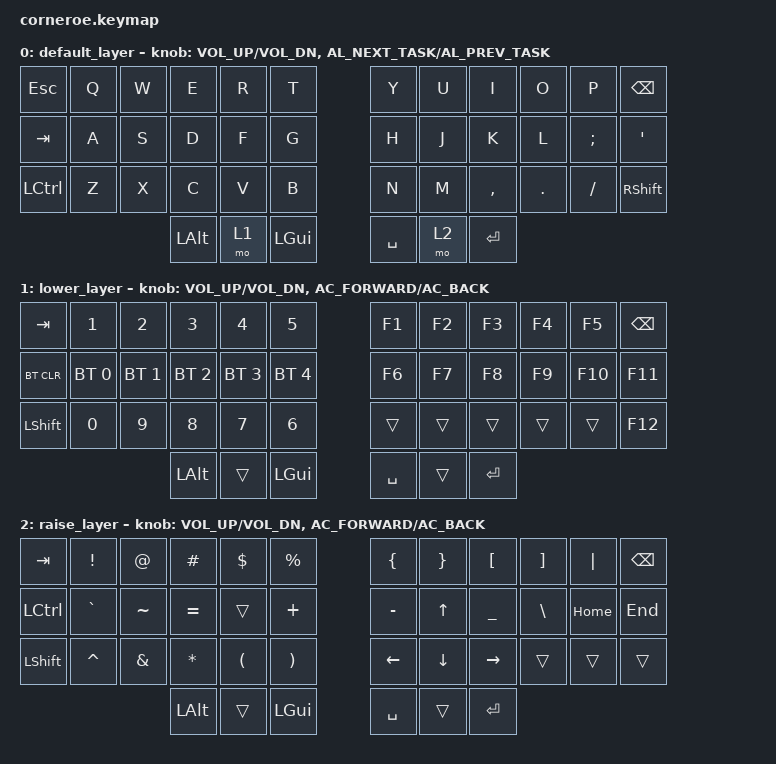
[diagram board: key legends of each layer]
/*
 * Copyright (c) 2020 The ZMK Contributors
 *
 * SPDX-License-Identifier: MIT
 */

#include <dt-bindings/zmk/mouse.h>
#include <behaviors.dtsi>
#include <dt-bindings/zmk/bt.h>
#include <dt-bindings/zmk/ext_power.h>
#include <dt-bindings/zmk/keys.h>
#include <dt-bindings/zmk/pointing.h>

/ {

    keymap {
        compatible = "zmk,keymap";

        default_layer {
            // -----------------------------------------------------------------------------------------
            // |  TAB |  Q  |  W  |  E  |  R  |  T  |   |  Y  |  U   |  I  |  O  |  P  | BKSP |
            // | CTRL |  A  |  S  |  D  |  F  |  G  |   |  H  |  J   |  K  |  L  |  ;  |  '   |
            // | SHFT |  Z  |  X  |  C  |  V  |  B  |   |  N  |  M   |  ,  |  .  |  /  | ESC  |
            //                    | GUI | LWR | SPC |   | ENT | RSE  | ALT |

            bindings = <
&kp ESC    &kp Q  &kp W  &kp E         &kp R  &kp T           &kp Y      &kp U  &kp I      &kp O    &kp P     &kp BSPC
&kp TAB    &kp A  &kp S  &kp D         &kp F  &kp G           &kp H      &kp J  &kp K      &kp L    &kp SEMI  &kp SQT
&kp LCTRL  &kp Z  &kp X  &kp C         &kp V  &kp B           &kp N      &kp M  &kp COMMA  &kp DOT  &kp FSLH  &kp RSHIFT
                         &kp LEFT_ALT  &mo 1  &kp LEFT_GUI    &kp SPACE  &mo 2  &kp ENTER
            >;

            sensor-bindings = <&inc_dec_kp C_VOL_UP C_VOL_DN &inc_dec_kp C_AL_NEXT_TASK C_AL_PREV_TASK>;
        };

        lower_layer {
             // -----------------------------------------------------------------------------------------
             // |  TAB |  1  |  2  |  3  |  4  |  5  |   |  6  |  7  |  8  |  9  |  0  | BKSP |
             // | BTCLR| BT1 | BT2 | BT3 | BT4 | BT5 |   | LFT | DWN |  UP | RGT |     |      |
             // | SHFT |     |     |     |     |     |   |     |     |     |     |     |      |
             //                    | GUI |     | SPC |   | ENT |     | ALT |

            bindings = <
&kp TAB     &kp N1        &kp N2        &kp N3        &kp N4        &kp N5          &kp F1     &kp F2  &kp F3     &kp F4  &kp F5   &kp BSPC
&bt BT_CLR  &bt BT_SEL 0  &bt BT_SEL 1  &bt BT_SEL 2  &bt BT_SEL 3  &bt BT_SEL 4    &kp F6     &kp F7  &kp F8     &kp F9  &kp F10  &kp F11
&kp LSHFT   &kp N0        &kp N9        &kp N8        &kp N7        &kp N6          &trans     &trans  &trans     &trans  &trans   &kp F12
                                        &kp LEFT_ALT  &trans        &kp LEFT_GUI    &kp SPACE  &trans  &kp ENTER
            >;

            sensor-bindings = <&inc_dec_kp C_VOL_UP C_VOL_DN &inc_dec_kp C_AC_FORWARD C_AC_BACK>;
        };

        raise_layer {
            // -----------------------------------------------------------------------------------------
            // |  TAB |  !  |  @  |  #  |  $  |  %  |   |  ^  |  &  |  *  |  (  |  )  | BKSP |
            // | CTRL |     |     |     |     |     |   |  -  |  =  |  [  |  ]  |  \  |  `   |
            // | SHFT |     |     |     |     |     |   |  _  |  +  |  {  |  }  | "|" |  ~   |
            //                    | GUI |     | SPC |   | ENT |     | ALT |

            bindings = <
&kp TAB    &kp EXCL   &kp AT         &kp HASH      &kp DLLR              &kp PRCNT                &kp LEFT_BRACE  &kp RIGHT_BRACE  &kp LEFT_BRACKET  &kp RIGHT_BRACKET  &kp PIPE  &kp BSPC
&kp LCTRL  &kp GRAVE  &kp TILDE      &kp EQUAL     &trans                &kp PLUS                 &kp MINUS       &kp UP_ARROW     &kp UNDERSCORE    &kp BACKSLASH      &kp HOME  &kp END
&kp LSHFT  &kp CARET  &kp AMPERSAND  &kp ASTRK     &kp LEFT_PARENTHESIS  &kp RIGHT_PARENTHESIS    &kp LEFT        &kp DOWN         &kp RIGHT         &trans             &trans    &trans
                                     &kp LEFT_ALT  &trans                &kp LEFT_GUI             &kp SPACE       &trans           &kp ENTER
            >;

            sensor-bindings = <&inc_dec_kp C_VOL_UP C_VOL_DN &inc_dec_kp C_AC_FORWARD C_AC_BACK>;
        };
    };
};
